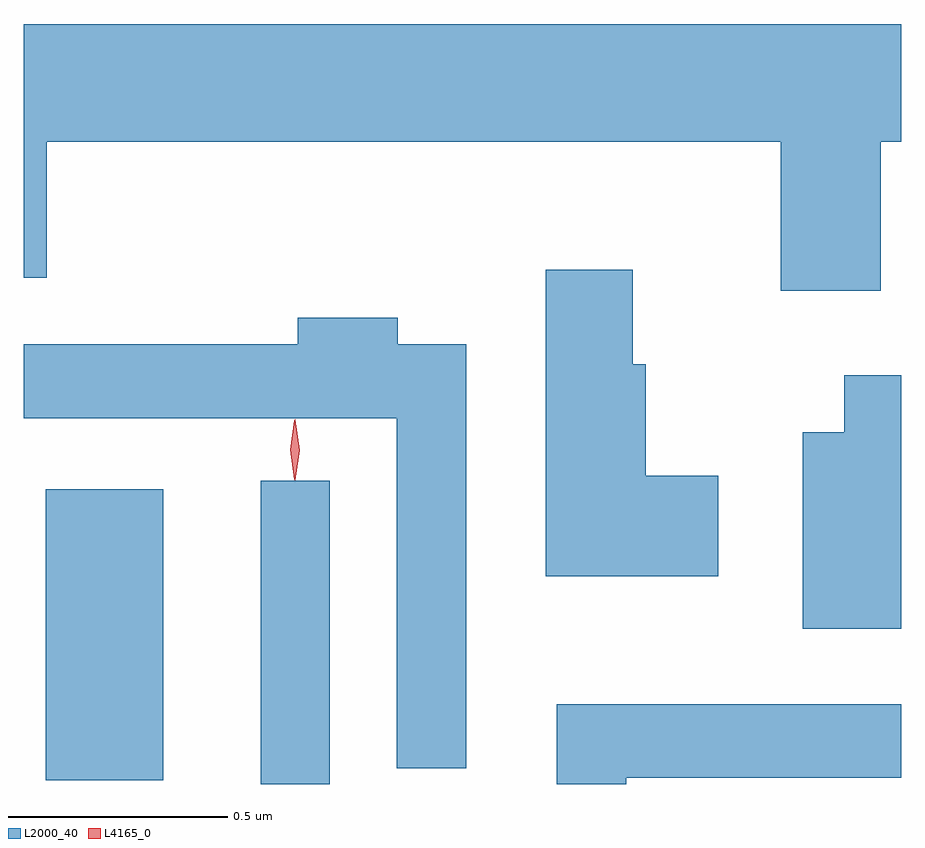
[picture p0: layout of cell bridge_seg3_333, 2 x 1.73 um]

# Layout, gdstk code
import gdstk
lib = gdstk.Library(unit=1e-6, precision=1e-09)
def R(c, l, rs):  # rectangles x0, y0, x1, y1
    for r in rs: c.add(gdstk.rectangle(r[:2], r[2:], *l))
def P(c, l, *ps):  # polygons
    for p in ps: c.add(gdstk.Polygon(p, *l))
L2000_40 = (2000, 40)
L4165_0 = (4165, 0)

bridge_seg3_333 = lib.new_cell('bridge_seg3_333')
R(bridge_seg3_333, L2000_40, [(571.696,1142.312,571.854,1143.003), (571.206,1142.321,571.474,1142.984)])
P(bridge_seg3_333, L2000_40, [(573.109,1143.776),(573.156,1143.776),(573.156,1144.044),(571.156,1144.044),(571.156,1143.466),(571.209,1143.466),(571.209,1143.776),(572.881,1143.776),(572.881,1143.436),(573.109,1143.436)],
  [(572.739,1143.014),(572.574,1143.014),(572.574,1143.269),(572.544,1143.269),(572.544,1143.484),(572.346,1143.484),(572.346,1142.786),(572.739,1142.786)],
  [(572.164,1143.314),(572.009,1143.314),(572.009,1143.374),(571.781,1143.374),(571.781,1143.314),(571.156,1143.314),(571.156,1143.146),(572.006,1143.146),(572.006,1142.348),(572.164,1142.348)],
  [(573.156,1143.244),(573.026,1143.244),(573.026,1143.114),(572.931,1143.114),(572.931,1142.666),(573.156,1142.666)],
  [(572.529,1142.326),(573.156,1142.326),(573.156,1142.494),(572.371,1142.494),(572.371,1142.312),(572.529,1142.312)])
P(bridge_seg3_333, L4165_0, [(571.773,1143.007),(571.764,1143.074),(571.773,1143.14),(571.774,1143.14),(571.774,1143.14),(571.783,1143.074),(571.774,1143.007),(571.774,1143.007)],
  [(571.774,1143.004),(571.765,1143.073),(571.774,1143.142),(571.775,1143.143),(571.775,1143.142),(571.785,1143.073),(571.775,1143.004),(571.775,1143.004)])

lib.write_gds('bridge_seg3_333.gds')
